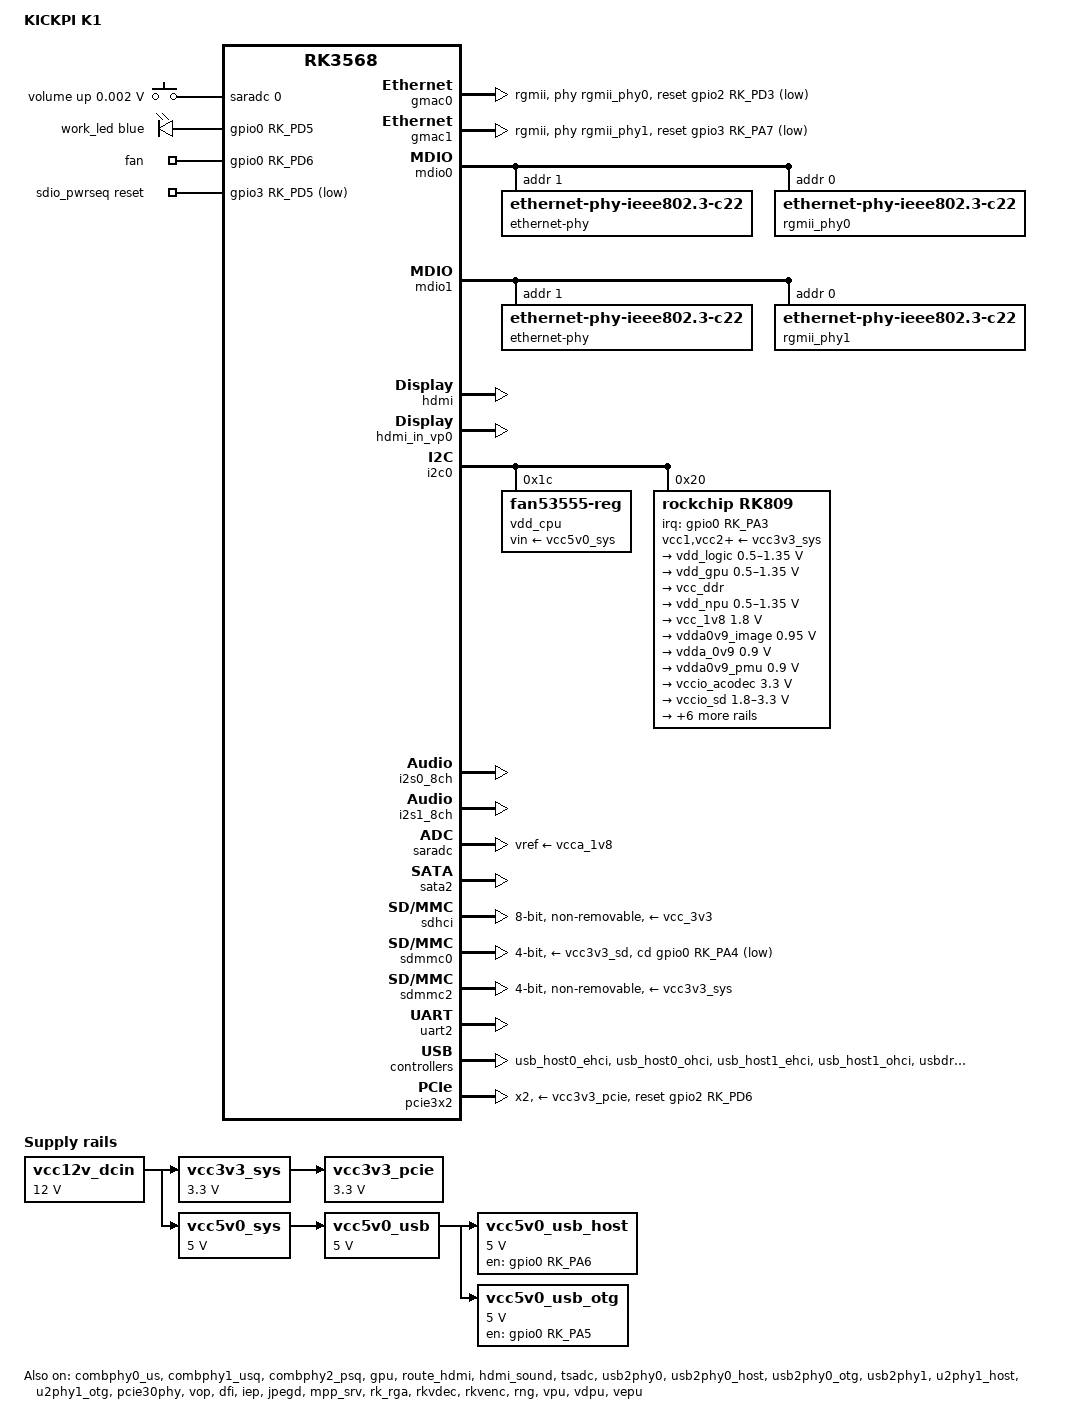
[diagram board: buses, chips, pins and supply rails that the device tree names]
// SPDX-License-Identifier: GPL-2.0-or-later OR MIT
/*
 * KICKPI K1 (V1.2, RK3568B2) —— iNextOS/Armbian 板级设备树
 *
 * 2026-10-13 重写：本文件此前是厂商 5.10 DTS 的 85KB 全量转写（整棵 SoC 树展开
 * 覆盖在 6.1 dtsi 之上），实机表现为内核在极早期静默死亡（u-boot 正常、
 * Starting kernel 后零输出、灯全灭）。对照两条已验证成功线重写为官方模式：
 *   · 结构模板 = lyw-OS（T68M，同框架同内核实机成功）：#include "rk3568.dtsi"
 *     官方打底 + 最小板级覆盖；
 *   · 板级数值  = lyw-kf（飞牛线，本板实机验证）与厂商原厂 DTS 取证，
 *     全部标注来源；与 T68M 的板级差异单独注明。
 * 不再包含：厂商全量 SoC 树 / reserved-memory / fiq-debugger / 厂商私有
 * platdata 节点（bluetooth-platdata、wlan-platdata 等，6.1 内核无驱动）。
 */

/dts-v1/;
#include <dt-bindings/gpio/gpio.h>
#include <dt-bindings/input/input.h>
#include <dt-bindings/leds/common.h>
#include <dt-bindings/pinctrl/rockchip.h>
#include <dt-bindings/soc/rockchip,vop2.h>
#include "rk3568.dtsi"

/ {
	model = "KICKPI K1";
	compatible = "kickpi,k1", "rockchip,rk3568";

	aliases {
		ethernet0 = &gmac0;
		ethernet1 = &gmac1;
		mmc0 = &sdhci;
		mmc1 = &sdmmc0;

		led-boot = &work_led;
		led-failsafe = &work_led;
		led-running = &work_led;
		led-upgrade = &work_led;
	};

	/* 串口控制台：ttyS2 @1500000（本板 console，README 实测值）。
	   此前转写版缺失 chosen → 裸 earlycon 失效、console 无 DT 出处。 */
	chosen {
		stdout-path = "serial2:1500000n8";
	};

	/* 厂商原厂 DTS：按键走 SARADC，keyup 1800000、vol-up 1750（数值取自厂商实机） */
	adc-keys {
		compatible = "adc-keys";
		io-channels = <&saradc 0>;
		io-channel-names = "buttons";
		keyup-threshold-microvolt = <1800000>;
		poll-interval = <100>;

		vol-up-key {
			label = "volume up";
			linux,code = <KEY_VOLUMEUP>;
			press-threshold-microvolt = <1750>;
		};
	};

	/* 工作灯 = gpio0 PD5 heartbeat（lyw-kf 实机 DTS 原值；T68M 是 gpio4 PC6，
	   属板级差异）。风扇 = gpio0 PD6 GPIO 直驱非 PWM（kickpi-k1.csc 注释 +
	   厂商实机 DTS），恒转。 */
	gpio-leds {
		compatible = "gpio-leds";
		pinctrl-names = "default";
		pinctrl-0 = <&work_led_pin>, <&fan_pin>;

		work_led: led-work {
			color = <LED_COLOR_ID_BLUE>;
			function = LED_FUNCTION_STATUS;
			gpios = <&gpio0 RK_PD5 GPIO_ACTIVE_HIGH>;
			linux,default-trigger = "heartbeat";
			default-state = "on";
		};

		fan: led-fan {
			gpios = <&gpio0 RK_PD6 GPIO_ACTIVE_HIGH>;
			default-state = "on";
		};
	};

	/* WiFi(SWT6621S) SDIO 上电时序：lyw-kf R1–R5 五轮实机定论 ——
	   脚必须 PD5、flag 必须 ACTIVE_LOW、延时 1000ms（200ms 会失败）。
	   与 T68M 的板级差异（T68M 是 PD5+ACTIVE_LOW+200ms AIC8800）。 */
	sdio_pwrseq: sdio-pwrseq {
		compatible = "mmc-pwrseq-simple";
		clocks = <&rk809 1>;
		clock-names = "ext_clock";
		pinctrl-names = "default";
		pinctrl-0 = <&wifi_enable_h>;
		post-power-on-delay-ms = <1000>;
		reset-gpios = <&gpio3 RK_PD5 GPIO_ACTIVE_LOW>;
	};

	vcc12v_dcin: vcc12v-dcin-regulator {
		compatible = "regulator-fixed";
		regulator-name = "vcc12v_dcin";
		regulator-always-on;
		regulator-boot-on;
		regulator-min-microvolt = <12000000>;
		regulator-max-microvolt = <12000000>;
	};

	vcc3v3_sys: vcc3v3-sys-regulator {
		compatible = "regulator-fixed";
		regulator-name = "vcc3v3_sys";
		regulator-always-on;
		regulator-boot-on;
		regulator-min-microvolt = <3300000>;
		regulator-max-microvolt = <3300000>;
		vin-supply = <&vcc12v_dcin>;
	};

	vcc5v0_sys: vcc5v0-sys-regulator {
		compatible = "regulator-fixed";
		regulator-name = "vcc5v0_sys";
		regulator-always-on;
		regulator-boot-on;
		regulator-min-microvolt = <5000000>;
		regulator-max-microvolt = <5000000>;
		vin-supply = <&vcc12v_dcin>;
	};

	vcc5v0_usb: vcc5v0-usb-regulator {
		compatible = "regulator-fixed";
		regulator-name = "vcc5v0_usb";
		regulator-always-on;
		regulator-boot-on;
		regulator-min-microvolt = <5000000>;
		regulator-max-microvolt = <5000000>;
		vin-supply = <&vcc5v0_sys>;
	};

	/* USB 供电脚（lyw-kf 实机 DTS 原值）：host=GPIO0 PA6、otg=GPIO0 PA5，高有效 */
	vcc5v0_usb_host: vcc5v0-usb-host-regulator {
		compatible = "regulator-fixed";
		enable-active-high;
		gpio = <&gpio0 RK_PA6 GPIO_ACTIVE_HIGH>;
		pinctrl-names = "default";
		pinctrl-0 = <&vcc5v0_usb_host_en>;
		regulator-name = "vcc5v0_usb_host";
		regulator-always-on;
		regulator-boot-on;
		regulator-min-microvolt = <5000000>;
		regulator-max-microvolt = <5000000>;
		vin-supply = <&vcc5v0_usb>;
	};

	vcc5v0_usb_otg: vcc5v0-usb-otg-regulator {
		compatible = "regulator-fixed";
		enable-active-high;
		gpio = <&gpio0 RK_PA5 GPIO_ACTIVE_HIGH>;
		pinctrl-names = "default";
		pinctrl-0 = <&vcc5v0_usb_otg_en>;
		regulator-name = "vcc5v0_usb_otg";
		regulator-min-microvolt = <5000000>;
		regulator-max-microvolt = <5000000>;
		vin-supply = <&vcc5v0_usb>;
	};

	vcc3v3_pcie: vcc3v3-pcie-regulator {
		compatible = "regulator-fixed";
		regulator-name = "vcc3v3_pcie";
		regulator-always-on;
		regulator-boot-on;
		regulator-min-microvolt = <3300000>;
		regulator-max-microvolt = <3300000>;
		vin-supply = <&vcc3v3_sys>;
	};
};

&combphy0_us {
	status = "okay";
};

&combphy1_usq {
	status = "okay";
};

&combphy2_psq {
	/* SATA（README 实机取证：ata1 控制器在线；combphy2 供 SATA2） */
	status = "okay";
};

&cpu0 {
	cpu-supply = <&vdd_cpu>;
};

&cpu1 {
	cpu-supply = <&vdd_cpu>;
};

&cpu2 {
	cpu-supply = <&vdd_cpu>;
};

&cpu3 {
	cpu-supply = <&vdd_cpu>;
};

/* 双千兆：phy-mode="rgmii" + MAC 侧 tx/rx_delay 数值全部为本板实机值
   （lyw-kf PORTING §3.7 三方一致表 + 厂商原厂 DTS）。
   ⚠ 与 T68M 的板级差异：T68M 是 rgmii-id 且无 tx/rx_delay 属性（延迟全在
   PHY 侧），K1 必须用 rgmii + 显式 delay —— 数值动错会丢包（曾实测 1400B
   丢 90%）。phy-mode 改 "rgmii-id" 会死（PORTING 反面教训）。 */
&gmac0 {
	assigned-clocks = <&cru SCLK_GMAC0_RX_TX>, <&cru SCLK_GMAC0>;
	assigned-clock-parents = <&cru SCLK_GMAC0_RGMII_SPEED>;
	assigned-clock-rates = <0>, <125000000>;
	clock_in_out = "output";
	phy-mode = "rgmii";
	pinctrl-names = "default";
	pinctrl-0 = <&gmac0_miim
		     &gmac0_tx_bus2
		     &gmac0_rx_bus2
		     &gmac0_rgmii_clk
		     &gmac0_rgmii_bus>;
	/* 第二 PHY 复位：**GPIO2_D3**（控制器 /pinctrl/gpio@fe750000 = gpio2，pin 0x1b = 27）active-low，MAC 侧单持有。
	   ⚠ 历史 bug（2026-10-14 实机定案）：此处原先误写成 <&gpio3 RK_PB3>（= gpio3 pin 11）——
	   按到了完全不同的控制器与引脚 → 第二 PHY 一直处于复位 → 其 MDIO 总线地址 0/1/2 全无应答
	   → stmmac 报 "Cannot attach to PHY (error: -19)"，整口不可用（第一口不受影响，因为它的
	   reset 是同为 gpio3 pin 7 = GPIO3_A7，两侧一致）。
	   铁证（同一块板、同一颗 MAE0621A，双口可用的飞牛线 DTB 对照）：
	     ethernet@fe2a0000：KF = gpio@fe750000(gpio2) pin 27  ｜ KK 原值 = gpio@fe760000(gpio3) pin 11 ✗
	     ethernet@fe010000：KF = gpio@fe760000(gpio3) pin 7   ｜ KK 原值 = gpio@fe760000(gpio3) pin 7 ✓
	   即"第一口好、第二口死"的全部差异就在这一行；原注释里写的 fe750000 pin 0x1b 才是对的，
	   代码没跟上（注释与代码自相矛盾是这次排障最耗时的干扰项）。 */
	snps,reset-gpio = <&gpio2 RK_PD3 GPIO_ACTIVE_LOW>;
	snps,reset-active-low;
	snps,reset-delays-us = <0 20000 100000>;
	tx_delay = <0x21>;
	rx_delay = <0x3c>;
	phy-handle = <&rgmii_phy0>;
	status = "okay";
};

&gmac1 {
	assigned-clocks = <&cru SCLK_GMAC1_RX_TX>, <&cru SCLK_GMAC1>;
	assigned-clock-parents = <&cru SCLK_GMAC1_RGMII_SPEED>;
	assigned-clock-rates = <0>, <125000000>;
	clock_in_out = "output";
	phy-mode = "rgmii";
	pinctrl-names = "default";
	pinctrl-0 = <&gmac1m1_miim
		     &gmac1m1_tx_bus2
		     &gmac1m1_rx_bus2
		     &gmac1m1_rgmii_clk
		     &gmac1m1_rgmii_bus>;
	/* 厂商实机：reset = gpio3 PA7（fe760000 pin 0x07）active-low */
	snps,reset-gpio = <&gpio3 RK_PA7 GPIO_ACTIVE_LOW>;
	snps,reset-active-low;
	snps,reset-delays-us = <0 20000 100000>;
	tx_delay = <0x2f>;
	rx_delay = <0x39>;
	phy-handle = <&rgmii_phy1>;
	status = "okay";
};

&mdio0 {
	/* 占位 PHY：GMAC4 的 stmmac_mdio_reset 缺"复位后补一个 MDC 时钟"的
	   dummy read（PORTING 坑⑤），PHY ID 首帧会被读成 0xffff4411 导致
	   Maxio 驱动永不匹配。在 phy@0 之前放一个占位节点让扫描先走一帧，
	   phy@0 即读到正确 ID。此为本板必需（T68M/RTL8211F 无此问题）。 */
	ethernet-phy@1 {
		compatible = "ethernet-phy-ieee802.3-c22";
		reg = <1>;
	};

	rgmii_phy0: ethernet-phy@0 {
		compatible = "ethernet-phy-ieee802.3-c22";
		reg = <0>;
	};
};

&mdio1 {
	ethernet-phy@1 {
		compatible = "ethernet-phy-ieee802.3-c22";
		reg = <1>;
	};

	rgmii_phy1: ethernet-phy@0 {
		compatible = "ethernet-phy-ieee802.3-c22";
		reg = <0>;
	};
};

&gpu {
	mali-supply = <&vdd_gpu>;
	status = "okay";
};

&hdmi {
	avdd-0v9-supply = <&vdda0v9_image>;
	avdd-1v8-supply = <&vcca1v8_image>;
	/* HDMI PHY 校准表：照抄同内核树官方 EVB（rk3568-evb.dtsi），不自造。 */
	rockchip,phy-table =
		<92812500  0x8009 0x0000 0x0270>,
		<165000000 0x800b 0x0000 0x026d>,
		<185625000 0x800b 0x0000 0x01ed>,
		<297000000 0x800b 0x0000 0x01ad>,
		<594000000 0x8029 0x0000 0x0088>,
		<000000000 0x0000 0x0000 0x0000>;
	status = "okay";
};

&hdmi_in_vp0 {
	status = "okay";
};

&hdmi_in_vp1 {
	status = "disabled";
};

/* BSP display-subsystem 的 route-hdmi 默认 disabled+connect=vp1，
   不覆盖则 HDMI 无路由（T68M 实测 drm_bridge_attach -22 的教训）。 */
&route_hdmi {
	status = "okay";
	connect = <&vp0_out_hdmi>;
};

&hdmi_sound {
	status = "okay";
};

&i2c0 {
	status = "okay";

	/* vdd_cpu：厂商原厂 DTS = fan53555（@0x1c，712000–1390000，
	   init 900000、ramp 2300）。T68M 同位置是 tcs4525 —— 板级差异。 */
	vdd_cpu: regulator@1c {
		compatible = "fan53555-reg";
		reg = <0x1c>;
		fcs,suspend-voltage-selector = <1>;
		regulator-name = "vdd_cpu";
		regulator-always-on;
		regulator-boot-on;
		regulator-min-microvolt = <712000>;
		regulator-max-microvolt = <1390000>;
		regulator-init-microvolt = <900000>;
		regulator-ramp-delay = <2300>;
		vin-supply = <&vcc5v0_sys>;

		regulator-state-mem {
			regulator-off-in-suspend;
		};
	};

	rk809: pmic@20 {
		compatible = "rockchip,rk809";
		reg = <0x20>;
		interrupt-parent = <&gpio0>;
		interrupts = <RK_PA3 IRQ_TYPE_LEVEL_LOW>;
		assigned-clocks = <&cru I2S1_MCLKOUT_TX>;
		assigned-clock-parents = <&cru CLK_I2S1_8CH_TX>;
		#clock-cells = <1>;
		clock-names = "mclk";
		clocks = <&cru I2S1_MCLKOUT_TX>;
		pinctrl-names = "default";
		pinctrl-0 = <&pmic_int>, <&i2s1m0_mclk>;
		system-power-controller;
		#sound-dai-cells = <0>;
		wakeup-source;

		vcc1-supply = <&vcc3v3_sys>;
		vcc2-supply = <&vcc3v3_sys>;
		vcc3-supply = <&vcc3v3_sys>;
		vcc4-supply = <&vcc3v3_sys>;
		vcc5-supply = <&vcc3v3_sys>;
		vcc6-supply = <&vcc3v3_sys>;
		vcc7-supply = <&vcc3v3_sys>;
		vcc8-supply = <&vcc3v3_sys>;
		vcc9-supply = <&vcc3v3_sys>;

		regulators {
			vdd_logic: DCDC_REG1 {
				regulator-name = "vdd_logic";
				regulator-always-on;
				regulator-boot-on;
				regulator-initial-mode = <0x2>;
				regulator-min-microvolt = <500000>;
				regulator-max-microvolt = <1350000>;
				regulator-ramp-delay = <6001>;

				regulator-state-mem {
					regulator-off-in-suspend;
				};
			};

			vdd_gpu: DCDC_REG2 {
				regulator-name = "vdd_gpu";
				regulator-always-on;
				regulator-initial-mode = <0x2>;
				regulator-min-microvolt = <500000>;
				regulator-max-microvolt = <1350000>;
				regulator-ramp-delay = <6001>;

				regulator-state-mem {
					regulator-off-in-suspend;
				};
			};

			vcc_ddr: DCDC_REG3 {
				regulator-name = "vcc_ddr";
				regulator-always-on;
				regulator-boot-on;
				regulator-initial-mode = <0x2>;

				regulator-state-mem {
					regulator-on-in-suspend;
				};
			};

			vdd_npu: DCDC_REG4 {
				regulator-name = "vdd_npu";
				regulator-initial-mode = <0x2>;
				regulator-min-microvolt = <500000>;
				regulator-max-microvolt = <1350000>;
				regulator-ramp-delay = <6001>;

				regulator-state-mem {
					regulator-off-in-suspend;
				};
			};

			vcc_1v8: DCDC_REG5 {
				regulator-name = "vcc_1v8";
				regulator-always-on;
				regulator-boot-on;
				regulator-min-microvolt = <1800000>;
				regulator-max-microvolt = <1800000>;

				regulator-state-mem {
					regulator-off-in-suspend;
				};
			};

			vdda0v9_image: LDO_REG1 {
				regulator-name = "vdda0v9_image";
				regulator-min-microvolt = <950000>;
				regulator-max-microvolt = <950000>;

				regulator-state-mem {
					regulator-off-in-suspend;
				};
			};

			vdda_0v9: LDO_REG2 {
				regulator-name = "vdda_0v9";
				regulator-always-on;
				regulator-boot-on;
				regulator-min-microvolt = <900000>;
				regulator-max-microvolt = <900000>;

				regulator-state-mem {
					regulator-off-in-suspend;
				};
			};

			vdda0v9_pmu: LDO_REG3 {
				regulator-name = "vdda0v9_pmu";
				regulator-always-on;
				regulator-boot-on;
				regulator-min-microvolt = <900000>;
				regulator-max-microvolt = <900000>;

				regulator-state-mem {
					regulator-on-in-suspend;
					regulator-suspend-microvolt = <900000>;
				};
			};

			vccio_acodec: LDO_REG4 {
				regulator-name = "vccio_acodec";
				regulator-always-on;
				regulator-min-microvolt = <3300000>;
				regulator-max-microvolt = <3300000>;

				regulator-state-mem {
					regulator-off-in-suspend;
				};
			};

			vccio_sd: LDO_REG5 {
				regulator-name = "vccio_sd";
				regulator-min-microvolt = <1800000>;
				regulator-max-microvolt = <3300000>;

				regulator-state-mem {
					regulator-off-in-suspend;
				};
			};

			vcc3v3_pmu: LDO_REG6 {
				regulator-name = "vcc3v3_pmu";
				regulator-always-on;
				regulator-boot-on;
				regulator-min-microvolt = <3300000>;
				regulator-max-microvolt = <3300000>;

				regulator-state-mem {
					regulator-on-in-suspend;
					regulator-suspend-microvolt = <3300000>;
				};
			};

			vcca_1v8: LDO_REG7 {
				regulator-name = "vcca_1v8";
				regulator-always-on;
				regulator-boot-on;
				regulator-min-microvolt = <1800000>;
				regulator-max-microvolt = <1800000>;

				regulator-state-mem {
					regulator-off-in-suspend;
				};
			};

			vcca1v8_pmu: LDO_REG8 {
				regulator-name = "vcca1v8_pmu";
				regulator-always-on;
				regulator-boot-on;
				regulator-min-microvolt = <1800000>;
				regulator-max-microvolt = <1800000>;

				regulator-state-mem {
					regulator-on-in-suspend;
					regulator-suspend-microvolt = <1800000>;
				};
			};

			vcca1v8_image: LDO_REG9 {
				regulator-name = "vcca1v8_image";
				regulator-min-microvolt = <1800000>;
				regulator-max-microvolt = <1800000>;

				regulator-state-mem {
					regulator-off-in-suspend;
				};
			};

			vcc_3v3: SWITCH_REG1 {
				regulator-name = "vcc_3v3";
				regulator-always-on;
				regulator-boot-on;

				regulator-state-mem {
					regulator-off-in-suspend;
				};
			};

			vcc3v3_sd: SWITCH_REG2 {
				regulator-name = "vcc3v3_sd";

				regulator-state-mem {
					regulator-off-in-suspend;
				};
			};
		};
	};
};

&i2s0_8ch {
	status = "okay";
};

&i2s1_8ch {
	rockchip,trcm-sync-tx-only;
	status = "okay";
};

&pinctrl {
	leds {
		work_led_pin: work-led-pin {
			rockchip,pins = <0 RK_PD5 RK_FUNC_GPIO &pcfg_pull_none>;
		};

		fan_pin: fan-pin {
			rockchip,pins = <0 RK_PD6 RK_FUNC_GPIO &pcfg_pull_none>;
		};
	};

	pmic {
		pmic_int: pmic-int {
			rockchip,pins = <0 RK_PA3 RK_FUNC_GPIO &pcfg_pull_up>;
		};
	};

	sdio-pwrseq {
		wifi_enable_h: wifi-enable-h {
			rockchip,pins = <3 RK_PD5 RK_FUNC_GPIO &pcfg_pull_none>;
		};
	};

	usb {
		vcc5v0_usb_host_en: vcc5v0-usb-host-en {
			rockchip,pins = <0 RK_PA6 RK_FUNC_GPIO &pcfg_pull_none>;
		};

		vcc5v0_usb_otg_en: vcc5v0-usb-otg-en {
			rockchip,pins = <0 RK_PA5 RK_FUNC_GPIO &pcfg_pull_none>;
		};
	};
};

&pmu_io_domains {
	/* 数值与 lyw-kf 实机 io-domains 逐项一致（且与 T68M 相同映射） */
	pmuio1-supply = <&vcc3v3_pmu>;
	pmuio2-supply = <&vcc3v3_pmu>;
	vccio1-supply = <&vccio_acodec>;
	vccio2-supply = <&vcc_1v8>;
	vccio3-supply = <&vccio_sd>;
	vccio4-supply = <&vcc_1v8>;
	vccio5-supply = <&vcc_3v3>;
	vccio6-supply = <&vcc_1v8>;
	vccio7-supply = <&vcc_3v3>;
	status = "okay";
};

&saradc {
	vref-supply = <&vcca_1v8>;
	status = "okay";
};

&sata2 {
	/* 数据口，不参与启动（README） */
	status = "okay";
};

&sdhci {
	/* eMMC 64G：厂商实机 8bit/200MHz（与 T68M 同款配置） */
	bus-width = <8>;
	max-frequency = <200000000>;
	non-removable;
	pinctrl-names = "default";
	pinctrl-0 = <&emmc_bus8 &emmc_clk &emmc_cmd &emmc_datastrobe>;
	vmmc-supply = <&vcc_3v3>;
	vqmmc-supply = <&vcc_1v8>;
	status = "okay";
};

&sdmmc0 {
	/* microSD：cd = GPIO0 PA4（厂商实机），vmmc/vqmmc = RK809 SWITCH_REG2/LDO_REG5 */
	bus-width = <4>;
	cap-sd-highspeed;
	cd-gpios = <&gpio0 RK_PA4 GPIO_ACTIVE_LOW>;
	disable-wp;
	pinctrl-names = "default";
	pinctrl-0 = <&sdmmc0_bus4 &sdmmc0_clk &sdmmc0_cmd &sdmmc0_det>;
	sd-uhs-sdr50;
	vmmc-supply = <&vcc3v3_sd>;
	vqmmc-supply = <&vccio_sd>;
	status = "okay";
};

&sdmmc2 {
	/* SDIO WiFi (SWT6621S)：实机 SDR104 + pwrseq（见 sdio_pwrseq 注释） */
	bus-width = <4>;
	cap-sd-highspeed;
	cap-sdio-irq;
	disable-wp;
	keep-power-in-suspend;
	mmc-pwrseq = <&sdio_pwrseq>;
	non-removable;
	pinctrl-names = "default";
	pinctrl-0 = <&sdmmc2m0_bus4 &sdmmc2m0_clk &sdmmc2m0_cmd>;
	sd-uhs-sdr104;
	supports-sdio;
	vmmc-supply = <&vcc3v3_sys>;
	vqmmc-supply = <&vcc_1v8>;
	status = "okay";
};

&tsadc {
	rockchip,hw-tshut-mode = <1>;
	rockchip,hw-tshut-polarity = <0>;
	status = "okay";
};

&uart2 {
	status = "okay";
};

&usb_host0_ehci {
	status = "okay";
};

&usb_host0_ohci {
	status = "okay";
};

&usb_host1_ehci {
	status = "okay";
};

&usb_host1_ohci {
	status = "okay";
};

&usbdrd_dwc3 {
	extcon = <&usb2phy0>;
	status = "okay";
};

&usbhost_dwc3 {
	status = "okay";
};

/* USB3 glue 父节点必须显式使能（T68M 2026-10 实机教训：父节点默认 disabled
   时整棵 dwc3 子树不实例化）。 */
&usbdrd30 {
	status = "okay";
};

&usbhost30 {
	status = "okay";
};

&usb2phy0 {
	status = "okay";
};

&usb2phy0_host {
	phy-supply = <&vcc5v0_usb_host>;
	status = "okay";
};

&usb2phy0_otg {
	phy-supply = <&vcc5v0_usb_otg>;
	status = "okay";
};

&usb2phy1 {
	status = "okay";
};

&u2phy1_host {
	phy-supply = <&vcc5v0_usb_host>;
	status = "okay";
};

&u2phy1_otg {
	phy-supply = <&vcc5v0_usb_host>;
	status = "okay";
};

&pcie30phy {
	/* 不写 data-lanes（金标准对照定论）：
	   R1 官方 DTB、飞牛线（同板实机 NVMe 正常）的 phy@fe8c0000 均无此属性；
	   仅 T68M（1+1 bifurcation 分叉板）才写 <1 2>。K1 是聚合 x2 NVMe，
	   照抄后实测 rockchip_p3phy_rk3568_init: lock failed 0x6890000
	   （check input refclk and power supply）→ phy init -110 → dw-pcie -22。
	   SNPS 驱动源码不读 data-lanes，其影响经 u-boot 初始化路径注入。 */
	status = "okay";
};

&pcie3x2 {
	/* M.2 NVMe：x2 lanes 聚合（厂商实机 bus-range 0x20-0x2f）。
	   单口 NVMe 不需要 bifurcation（T68M 双 RTL8125 才要）。 */
	num-lanes = <2>;
	reset-gpios = <&gpio2 RK_PD6 GPIO_ACTIVE_HIGH>;
	vpcie3v3-supply = <&vcc3v3_pcie>;
	status = "okay";
};

&vop {
	assigned-clocks = <&cru DCLK_VOP0>, <&cru DCLK_VOP1>;
	assigned-clock-parents = <&pmucru PLL_HPLL>, <&cru PLL_VPLL>;
	status = "okay";
};

&vop_mmu {
	status = "okay";
};

/* NPU 关闭（与成功线 T68M 一致：其 DTS 注释明写"厂商出厂设备树里亦为
   disabled，此处同样保持关闭"）。实机教训：okay 后 15.93s 必 panic——
   rockchip-pm-domain 向 npu 域发 idle 请求等不到 ack
   （failed to get ack on domain 'npu', val=0x1ee），触发 vendor 内核
   panic_on_set_idle 调试开关直接 Kernel panic。软路由/NAS 场景不用 NPU。 */
&rknpu {
	status = "disabled";
	rknpu-supply = <&vdd_npu>;
};

&rknpu_mmu {
	status = "disabled";
};

&bus_npu {
	compatible = "rockchip,rk3568-bus";
	rockchip,busfreq-policy = "clkfreq";
	status = "disabled";
	bus-supply = <&vdd_logic>;
	pvtm-supply = <&vdd_cpu>;
};

/* ══════════════════════════════════════════════════════════════════
 * SoC IP 块使能（照抄官方基线 rk3568-roc-k40pro.dtsi / T68M 同款，
 * 缺失会导致硬编解/RGA/JPEG/硬件随机数/dfi 不可用）
 * ══════════════════════════════════════════════════════════════════ */
&dfi {
	status = "okay";
};

&iep {
	status = "okay";
};

&iep_mmu {
	status = "okay";
};

&jpegd {
	status = "okay";
};

&jpegd_mmu {
	status = "okay";
};

&mpp_srv {
	status = "okay";
};

&rk_rga {
	status = "okay";
};

&rkvdec {
	status = "okay";
};

&rkvdec_mmu {
	status = "okay";
};

&rkvenc {
	venc-supply = <&vdd_logic>;
	status = "okay";
};

&rkvenc_mmu {
	status = "okay";
};

&rng {
	status = "okay";
};

/* 真 VPU（video-codec@fdea0400，硬解/RGA 侧命门）——
   与同地址占位节点 vdpu@fdea0400 不同，漏了它 CI 后处理校验必挂（实测踩到） */
&vpu {
	status = "okay";
};

&vdpu {
	status = "okay";
};

&vdpu_mmu {
	status = "okay";
};

&vepu {
	status = "okay";
};

&vepu_mmu {
	status = "okay";
};
